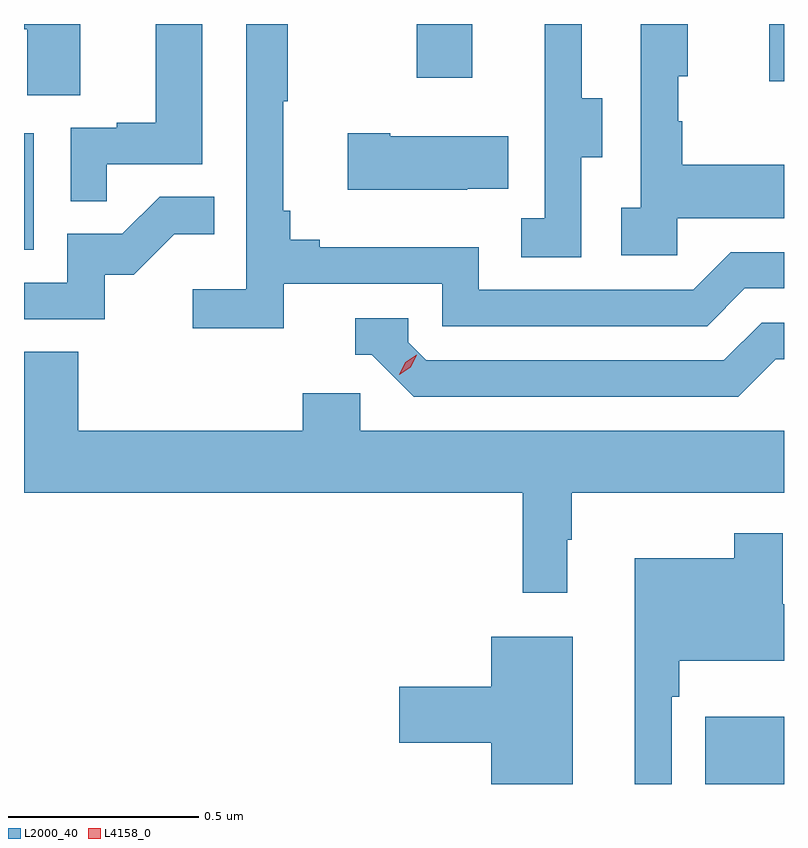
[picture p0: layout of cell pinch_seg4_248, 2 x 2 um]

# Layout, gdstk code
import gdstk
lib = gdstk.Library(unit=1e-6, precision=1e-09)
def R(c, l, rs):  # rectangles x0, y0, x1, y1
    for r in rs: c.add(gdstk.rectangle(r[:2], r[2:], *l))
def P(c, l, *ps):  # polygons
    for p in ps: c.add(gdstk.Polygon(p, *l))
L2000_40 = (2000, 40)
L4158_0 = (4158, 0)

pinch_seg4_248 = lib.new_cell('pinch_seg4_248')
R(pinch_seg4_248, L2000_40, [(912.728,830.686,912.935,830.863), (910.935,832.092,910.96,832.399), (912.896,832.536,912.935,832.686), (911.968,832.545,912.115,832.686)])
P(pinch_seg4_248, L2000_40, [(911.153,832.317),(911.404,832.317),(911.404,832.686),(911.282,832.686),(911.282,832.426),(911.179,832.426),(911.179,832.413),(911.058,832.413),(911.058,832.219),(911.153,832.219)],
  [(911.618,832.002),(912.036,832.002),(912.036,831.891),(912.733,831.891),(912.832,831.99),(912.935,831.99),(912.935,832.086),(912.795,832.086),(912.696,831.987),(912.132,831.987),(912.132,832.099),(911.713,832.099),(911.713,832.118),(911.636,832.118),(911.636,832.195),(911.617,832.195),(911.617,832.483),(911.629,832.483),(911.629,832.686),(911.52,832.686),(911.52,831.988),(911.379,831.988),(911.379,831.886),(911.618,831.886)],
  [(912.402,832.336),(912.457,832.336),(912.457,832.491),(912.403,832.491),(912.403,832.686),(912.305,832.686),(912.305,832.479),(912.306,832.479),(912.306,832.175),(912.243,832.175),(912.243,832.072),(912.402,832.072)],
  [(912.654,832.175),(912.935,832.175),(912.935,832.315),(912.667,832.315),(912.667,832.43),(912.657,832.43),(912.657,832.548),(912.682,832.548),(912.682,832.686),(912.558,832.686),(912.558,832.202),(912.507,832.202),(912.507,832.077),(912.654,832.077)],
  [(911.083,832.686),(910.935,832.686),(910.935,832.672),(910.943,832.672),(910.943,832.498),(911.083,832.498)],
  [(912.101,832.253),(912.209,832.253),(912.209,832.39),(911.899,832.39),(911.899,832.398),(911.787,832.398),(911.787,832.25),(912.101,832.25)],
  [(911.148,832.026),(911.224,832.026),(911.331,832.133),(911.435,832.133),(911.435,832.232),(911.292,832.232),(911.194,832.134),(911.049,832.134),(911.049,832.005),(910.935,832.005),(910.935,831.909),(911.148,831.909)],
  [(912.913,831.804),(912.935,831.804),(912.935,831.9),(912.876,831.9),(912.777,831.801),(911.994,831.801),(911.946,831.849),(911.946,831.912),(911.807,831.912),(911.807,831.816),(911.85,831.816),(911.961,831.705),(912.814,831.705)],
  [(912.364,831.329),(912.376,831.329),(912.376,831.452),(912.935,831.452),(912.935,831.616),(911.82,831.616),(911.82,831.714),(911.669,831.714),(911.669,831.616),(911.078,831.616),(911.078,831.824),(910.935,831.824),(910.935,831.452),(912.247,831.452),(912.247,831.189),(912.364,831.189)],
  [(912.639,830.915),(912.659,830.915),(912.659,831.011),(912.935,831.011),(912.935,831.159),(912.932,831.159),(912.932,831.346),(912.804,831.346),(912.804,831.28),(912.542,831.28),(912.542,830.686),(912.639,830.686)],
  [(912.379,831.073),(912.164,831.073),(912.164,830.942),(911.922,830.942),(911.922,830.795),(912.164,830.795),(912.164,830.686),(912.379,830.686)])
P(pinch_seg4_248, L4158_0, [(911.922,831.763),(911.922,831.763),(911.938,831.796),(911.969,831.816),(911.969,831.816),(911.969,831.816),(911.953,831.783),(911.922,831.763)])

lib.write_gds('pinch_seg4_248.gds')
